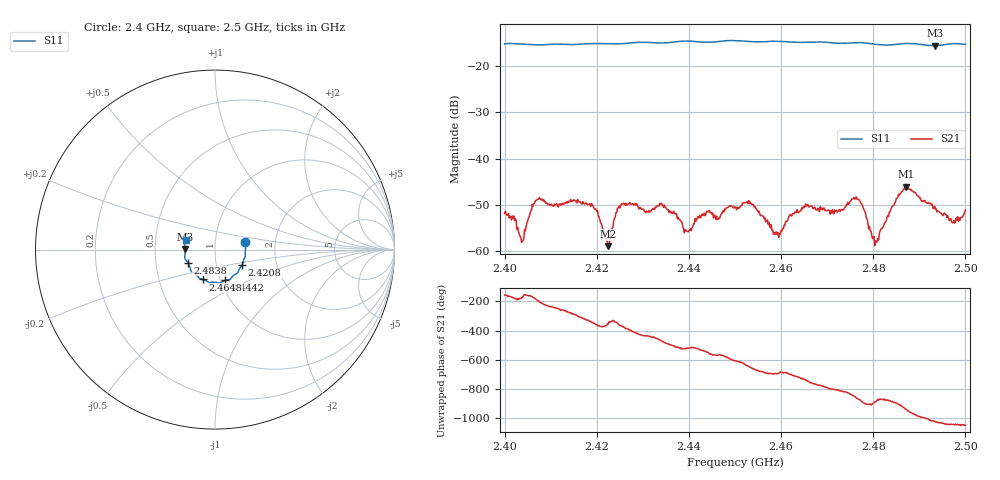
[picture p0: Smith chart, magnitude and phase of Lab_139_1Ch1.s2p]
# Hz S RI R 50
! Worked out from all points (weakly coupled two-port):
!   601 points, 2.4 GHz to 2.5 GHz, reference 50 ohm
!   highest |S21| = -46.03 dB at 2.4872 GHz (marker M1); lowest = -58.9 dB at 2.4225 GHz (marker M2)
!   lowest |S11| = -15.6 dB at 2.4935 GHz (marker M3), VSWR 1.40, Z = 35.8 + j0.207 ohm
!   |S11| at or under -10 dB: start of sweep to end of sweep
!   S12 and S22 are empty: the file has one direction only
!   S11 on the Smith chart (normalised r, x): 2.4 GHz: 1.40, +0.12; 2.4208 GHz: 1.33, -0.24; 2.4442 GHz: 1.05, -0.37; 2.4648 GHz: 0.83, -0.28; 2.4838 GHz: 0.73, -0.11; 2.5 GHz: 0.72, +0.08
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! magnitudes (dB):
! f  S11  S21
! 2.4 GHz  -15.2  -51.8
! 2.4037 GHz  -15.3  -58.1
! 2.4072 GHz  -15.4  -48.8
! 2.4167 GHz  -15.3  -49.7
! 2.4208 GHz  -15.2  -53.9
! 2.4225 GHz  -15.2  -58.9
! 2.4253 GHz  -15.2  -49.8
! 2.4333 GHz  -15.0  -50.2
! 2.4395 GHz  -14.6  -55.7
! 2.4442 GHz  -14.9  -51.5
! 2.45 GHz  -14.5  -50.6
! 2.4535 GHz  -14.8  -49.7
! 2.4593 GHz  -14.7  -56.0
! 2.4648 GHz  -14.9  -50.4
! 2.4667 GHz  -14.8  -50.2
! 2.4767 GHz  -15.0  -48.8
! 2.4807 GHz  -15.3  -58.0
! 2.4833 GHz  -15.5  -52.5
! 2.4838 GHz  -15.4  -50.9
! 2.4872 GHz  -15.1  -46.0
! 2.4935 GHz  -15.6  -51.0
! 2.5 GHz  -15.3  -51.1
